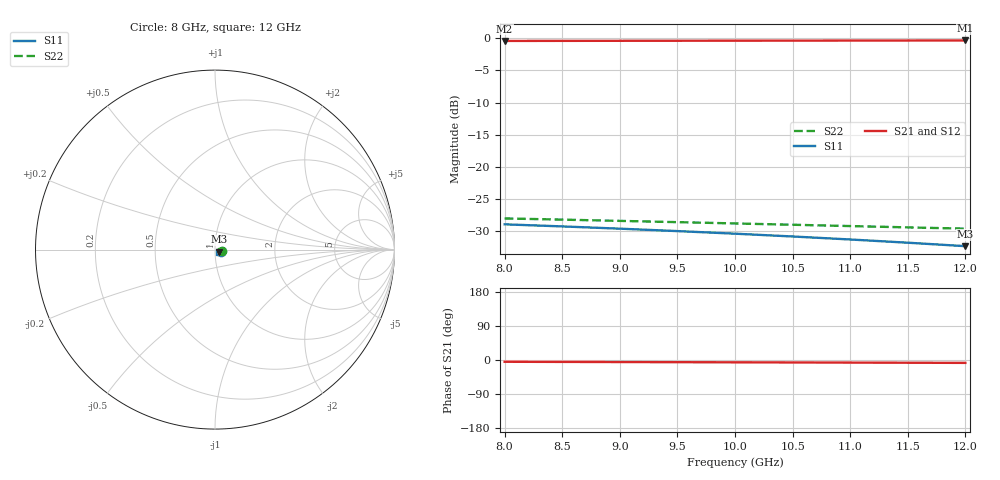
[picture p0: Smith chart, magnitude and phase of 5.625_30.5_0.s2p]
! Created Thu Oct 22 17:13:42 2020
# hz S ma R 50
! 2 Port Network Data from SP1.SP block
! freq  magS11  angS11  magS21  angS21  magS12  angS12  magS22  angS22
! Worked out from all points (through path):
!   9 points, 8 GHz to 12 GHz, reference 50 ohm
!   highest |S21| = -0.34 dB at 12 GHz (marker M1); lowest = -0.4 dB at 8 GHz (marker M2)
!   lowest |S11| = -32.3 dB at 12 GHz (marker M3), VSWR 1.05, Z = 52.2 - j1.15 ohm
!   |S11| at or under -10 dB: start of sweep to end of sweep
!   |S22| runs from -29.6 to -28.0 dB; largest |S21 - S12| = 0
8e9  0.03585 -24.7  0.9538 -4.7  0.9538 -4.7  0.03983 -15.2
8.5e9  0.03453 -25.6  0.9549 -5.0  0.9549 -5.0  0.03899 -15.3
9e9  0.03317 -26.4  0.956 -5.4  0.956 -5.4  0.03813 -15.3
9.5e9  0.03176 -27.0  0.9571 -5.7  0.9571 -5.7  0.03727 -15.2
1e10  0.03032 -27.4  0.9581 -6.1  0.9581 -6.1  0.03642 -14.9
1.05e10  0.02884 -27.7  0.9591 -6.5  0.9591 -6.5  0.03557 -14.5
1.1e10  0.02733 -27.7  0.9601 -6.8  0.9601 -6.8  0.03474 -13.9
1.15e10  0.0258 -27.5  0.961 -7.2  0.961 -7.2  0.03394 -13.0
1.2e10  0.02425 -27.0  0.9619 -7.6  0.9619 -7.6  0.03317 -12.0
